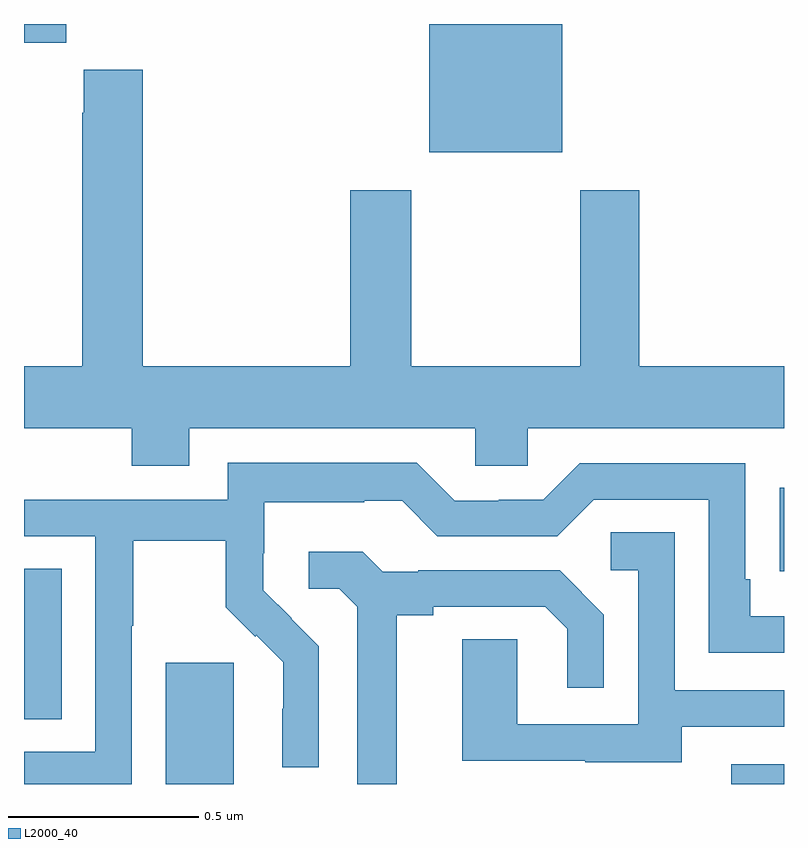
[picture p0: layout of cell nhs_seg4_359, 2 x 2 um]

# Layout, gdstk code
import gdstk
lib = gdstk.Library(unit=1e-6, precision=1e-09)
def R(c, l, rs):  # rectangles x0, y0, x1, y1
    for r in rs: c.add(gdstk.rectangle(r[:2], r[2:], *l))
def P(c, l, *ps):  # polygons
    for p in ps: c.add(gdstk.Polygon(p, *l))
L2000_40 = (2000, 40)

nhs_seg4_359 = lib.new_cell('nhs_seg4_359')
R(nhs_seg4_359, L2000_40, [(115.373,779.9,115.552,780.219), (116.861,779.9,117,779.952), (115,780.07,115.099,780.467), (116.989,780.46,117,780.679), (116.066,781.562,116.416,781.9), (115,781.851,115.111,781.9)])
P(nhs_seg4_359, L2000_40, [(115.435,780.836),(116.187,780.836),(116.187,780.738),(116.325,780.738),(116.325,780.836),(117,780.836),(117,781),(116.619,781),(116.619,781.462),(116.464,781.462),(116.464,781),(116.019,781),(116.019,781.462),(115.859,781.462),(115.859,781),(115.313,781),(115.313,781.78),(115.157,781.78),(115.157,781.667),(115.153,781.667),(115.153,781),(115,781),(115,780.836),(115.283,780.836),(115.283,780.737),(115.435,780.737)],
  [(115.284,780.316),(115.287,780.316),(115.287,780.54),(115.531,780.54),(115.531,780.365),(115.608,780.288),(115.611,780.291),(115.682,780.221),(115.682,780.098),(115.68,780.098),(115.68,779.944),(115.776,779.944),(115.776,780.262),(115.703,780.335),(115.704,780.336),(115.63,780.41),(115.63,780.507),(115.632,780.507),(115.632,780.641),(115.895,780.641),(115.895,780.645),(115.995,780.645),(116.088,780.552),(116.403,780.552),(116.499,780.648),(116.802,780.648),(116.802,780.246),(117,780.246),(117,780.342),(116.911,780.342),(116.911,780.439),(116.898,780.439),(116.898,780.744),(116.463,780.744),(116.367,780.648),(116.249,780.648),(116.249,780.645),(116.133,780.645),(116.033,780.745),(115.536,780.745),(115.536,780.648),(115,780.648),(115,780.552),(115.188,780.552),(115.188,779.985),(115,779.985),(115,779.9),(115.284,779.9)],
  [(116.731,780.051),(117,780.051),(117,780.147),(116.712,780.147),(116.712,780.563),(116.544,780.563),(116.544,780.462),(116.616,780.462),(116.616,780.057),(116.298,780.057),(116.298,780.281),(116.153,780.281),(116.153,779.961),(116.477,779.961),(116.477,779.957),(116.731,779.957)],
  [(115.981,780.344),(116.077,780.344),(116.077,780.366),(116.372,780.366),(116.429,780.309),(116.429,780.153),(116.526,780.153),(116.526,780.346),(116.41,780.462),(116.038,780.462),(116.038,780.459),(115.944,780.459),(115.892,780.511),(115.749,780.511),(115.749,780.414),(115.83,780.414),(115.877,780.367),(115.877,779.9),(115.981,779.9)])

lib.write_gds('nhs_seg4_359.gds')
